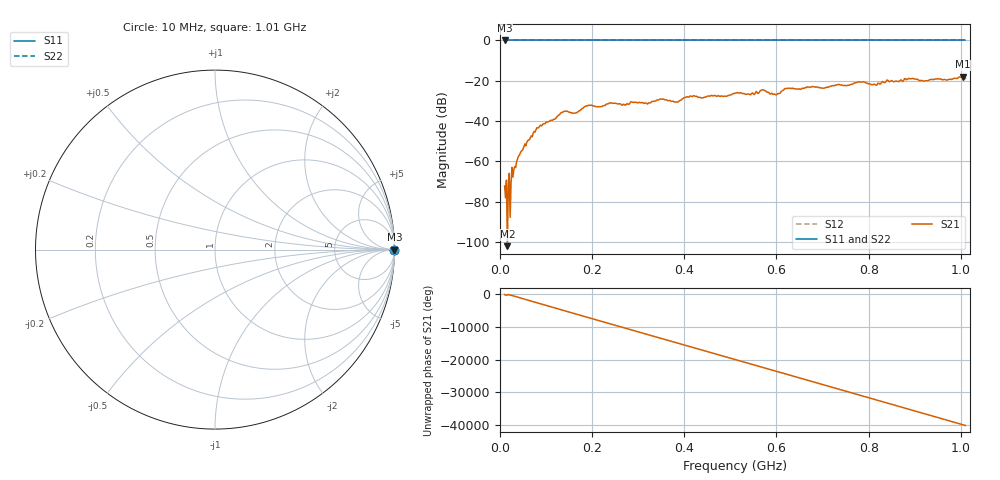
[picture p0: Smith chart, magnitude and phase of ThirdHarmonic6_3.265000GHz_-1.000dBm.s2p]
! 8/17/2025 10:05:15 AM
! C:\ANRITSUVNA\TEMP\TEMP.S2P
! CHANNEL.1
! TR.MEASUREMENT
! RAW.DATA
! RF.CORRECTION.OFF
! AVERAGING.OFF
! IF.BANDWIDTH: 5KHZ
! SWEEPTYPE:  FREQ.SWEEP(Linear)
! Reference Plane Port Info
! PORT:  PORT1  PORT2
! DISTANCE:  0  m  0  m
! TIME:  0  s  0  s
! PHASE.OFFSET:  0  deg.  0  deg.
! LOSS:  0  dB  0  dB
! REF.LOSS:  0  dB  0  dB
! REF.FREQ:  0  Hz  0  Hz
! Power Info
! POWER:  -20  dBm  -20  dBm
! EFF.POWER:  -20  dBm  -20  dBm
! SOURCE.ATTEN:  0  dB  0  dB
! TEST.ATTEN:  0  dB  0  dB
# GHZ S RI R 50.0
! FREQ.GHZ  S11RE  S11IM  S21RE  S21IM  S12RE  S12IM  S22RE  S22IM
!; PortSelection: Port_12
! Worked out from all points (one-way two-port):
!   501 points, 10 MHz to 1.01 GHz, reference 50 ohm
!   highest |S21| = -18.00 dB at 1.004 GHz (marker M1); lowest = -102.2 dB at 16 MHz (marker M2)
!   lowest |S11| = 0.0 dB at 10 MHz (marker M3)
!   |S11| at or under -10 dB: nowhere
!   |S22| runs from 0.0 to 0.0 dB; largest |S21 - S12| = 1.1
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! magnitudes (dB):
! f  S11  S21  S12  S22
! 10 MHz  0.0  -72.3  0.0  0.0
! 16 MHz  0.0  -102.2  0.0  0.0
! 20 MHz  0.0  -66.0  0.0  0.0
! 22 MHz  0.0  -87.9  0.0  0.0
! 26 MHz  0.0  -63.1  0.0  0.0
! 30 MHz  0.0  -64.1  0.0  0.0
! 42 MHz  0.0  -57.0  0.0  0.0
! 78 MHz  0.0  -44.4  0.0  0.0
! 136 MHz  0.0  -35.6  0.0  0.0
! 162 MHz  0.0  -36.1  0.0  0.0
! 178 MHz  0.0  -33.8  0.0  0.0
! 344 MHz  0.0  -29.6  0.0  0.0
! 382 MHz  0.0  -30.6  0.0  0.0
! 416 MHz  0.0  -27.9  0.0  0.0
! 510 MHz  0.0  -26.2  0.0  0.0
! 570 MHz  0.0  -24.5  0.0  0.0
! 596 MHz  0.0  -26.6  0.0  0.0
! 622 MHz  0.0  -23.8  0.0  0.0
! 678 MHz  0.0  -22.9  0.0  0.0
! 844 MHz  0.0  -20.4  0.0  0.0
! 1.004 GHz  0.0  -18.0  0.0  0.0
! 1.01 GHz  0.0  -18.9  0.0  0.0
